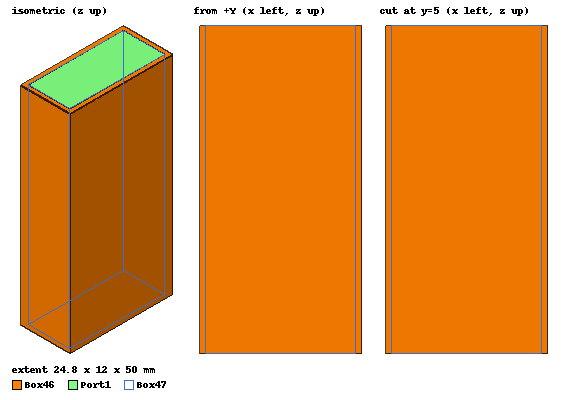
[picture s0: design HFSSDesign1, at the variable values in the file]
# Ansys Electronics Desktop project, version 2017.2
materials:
  vacuum: permittivity=1
  air: permittivity=1.0006 permeability=1.0000004
  copper: permeability=0.999991 conductivity=58000000

design HFSSDesign1 (HFSS, DrivenModal, model units mm)
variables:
  a = 22.8mm
  b = 10mm
  w = 8.8mm
  t = 1mm
  h = 3mm
  x1 = 1.5mm
  s = 0.75mm
  sh = 0.75mm
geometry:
  Box1 [copper] = box(corner=(0mm, 0mm, 0mm), size=(a, b, 0.01mm))
  Box2 = box(corner=((a-w)/2, (b-2*h-x1)/2, -0.5mm), size=(w, t, 1mm))
  Box3 = box(corner=((a-w)/2-sh, (b-2*h-x1)/2 +h+x1+2*t, -0.5mm), size=(w, t, 1mm))
  Box4 = box(corner=((a-w)/2, (b-2*h-x1)/2+2*t, -0.5mm), size=((w-s)/2, t, 1mm))
  Box5 = box(corner=((a-w)/2+(w-s)/2+s, (b-2*h-x1)/2+2*t, -0.5mm), size=((w-s)/2, t, 1mm))
  Box6 = box(corner=((a-w)/2-sh, (b-2*h-x1)/2+2*t+x1+t, -0.5mm), size=((w-s)/2, t, 1mm))
  Box7 = box(corner=((a-w)/2-sh+(w-s)/2+s, (b-2*h-x1)/2+2*t+x1+t, -0.5mm), size=((w-s)/2, t, 1mm))
  Box8 = box(corner=((a-w)/2, (b-2*h-x1)/2, -0.5mm), size=(t, h, 1mm))
  Box9 = box(corner=((a-w)/2+w-t, (b-2*h-x1)/2, -0.5mm), size=(t, h, 1mm))
  Box10 = box(corner=((a-w)/2-sh, (b-2*h-x1)/2+h+x1, -0.5mm), size=(t, h, 1mm))
  Box11 = box(corner=((a-w)/2-sh+w-t, (b-2*h-x1)/2+h+x1, -0.5mm), size=(t, h, 1mm))
  [Box1..Box11].move(0mm, -16mm, -0.01mm)
  Box12 [copper] = box(corner=(0mm, 0mm, 0mm), size=(a, b, 0.01mm))
  Box12.move(0mm, -16mm, -0.01mm)
  Box13 = box(corner=((a-w)/2, (b-2*h-x1)/2, -0.5mm), size=(w, t, 1mm))
  Box13.move(0mm, -16mm, -0.01mm)
  Box14 = box(corner=((a-w)/2-sh, (b-2*h-x1)/2 +h+x1+2*t, -0.5mm), size=(w, t, 1mm))
  Box14.move(0mm, -16mm, -0.01mm)
  Box15 = box(corner=((a-w)/2, (b-2*h-x1)/2+2*t, -0.5mm), size=((w-s)/2, t, 1mm))
  Box15.move(0mm, -16mm, -0.01mm)
  Box16 = box(corner=((a-w)/2+(w-s)/2+s, (b-2*h-x1)/2+2*t, -0.5mm), size=((w-s)/2, t, 1mm))
  Box16.move(0mm, -16mm, -0.01mm)
  Box17 = box(corner=((a-w)/2-sh, (b-2*h-x1)/2+2*t+x1+t, -0.5mm), size=((w-s)/2, t, 1mm))
  Box17.move(0mm, -16mm, -0.01mm)
  Box18 = box(corner=((a-w)/2-sh+(w-s)/2+s, (b-2*h-x1)/2+2*t+x1+t, -0.5mm), size=((w-s)/2, t, 1mm))
  Box18.move(0mm, -16mm, -0.01mm)
  Box19 = box(corner=((a-w)/2, (b-2*h-x1)/2, -0.5mm), size=(t, h, 1mm))
  Box19.move(0mm, -16mm, -0.01mm)
  Box20 = box(corner=((a-w)/2+w-t, (b-2*h-x1)/2, -0.5mm), size=(t, h, 1mm))
  Box20.move(0mm, -16mm, -0.01mm)
  Box21 = box(corner=((a-w)/2-sh, (b-2*h-x1)/2+h+x1, -0.5mm), size=(t, h, 1mm))
  Box21.move(0mm, -16mm, -0.01mm)
  Box22 = box(corner=((a-w)/2-sh+w-t, (b-2*h-x1)/2+h+x1, -0.5mm), size=(t, h, 1mm))
  Box22.move(0mm, -16mm, -0.01mm)
  [Box15, Box13, Box2, Box9, Box5, Box19, Box6, Box7, Box11, Box3, Box21, Box1].move(0mm, 0mm, 10mm)
  Box13.move(0mm, 0mm, -10mm)
  [Box4, Box8, Box10, Box12, Box13, Box14, Box16, Box17, Box18, Box20, Box22].move(0mm, 0mm, -10mm)
  [Box4, Box8, Box10, Box12, Box13, Box14, Box16, Box17, Box18, Box20, Box22].move(0mm, 0mm, 10mm)
  Box23 = box(corner=((a-w)/2, (b-2*h-x1)/2+2*t, -0.5mm), size=((w-s)/2, t, 1mm))
  Box23.move(0mm, -16mm, -0.01mm)
  Box23.move(0mm, 0mm, -10mm)
  Box23.move(0mm, 0mm, 10mm)
  Box24 = box(corner=((a-w)/2, (b-2*h-x1)/2, -0.5mm), size=(t, h, 1mm))
  Box24.move(0mm, -16mm, -0.01mm)
  Box24.move(0mm, 0mm, -10mm)
  Box24.move(0mm, 0mm, 10mm)
  Box25 = box(corner=((a-w)/2-sh, (b-2*h-x1)/2+h+x1, -0.5mm), size=(t, h, 1mm))
  Box25.move(0mm, -16mm, -0.01mm)
  Box25.move(0mm, 0mm, -10mm)
  Box25.move(0mm, 0mm, 10mm)
  Box26 [copper] = box(corner=(0mm, 0mm, 0mm), size=(a, b, 0.01mm))
  Box26.move(0mm, -16mm, -0.01mm)
  Box26.move(0mm, 0mm, -10mm)
  Box26.move(0mm, 0mm, 10mm)
  Box27 = box(corner=((a-w)/2, (b-2*h-x1)/2, -0.5mm), size=(w, t, 1mm))
  Box27.move(0mm, -16mm, -0.01mm)
  Box27.move(0mm, 0mm, 10mm)
  Box27.move(0mm, 0mm, -10mm)
  Box27.move(0mm, 0mm, -10mm)
  Box27.move(0mm, 0mm, 10mm)
  Box28 = box(corner=((a-w)/2-sh, (b-2*h-x1)/2 +h+x1+2*t, -0.5mm), size=(w, t, 1mm))
  Box28.move(0mm, -16mm, -0.01mm)
  Box28.move(0mm, 0mm, -10mm)
  Box28.move(0mm, 0mm, 10mm)
  Box29 = box(corner=((a-w)/2+(w-s)/2+s, (b-2*h-x1)/2+2*t, -0.5mm), size=((w-s)/2, t, 1mm))
  Box29.move(0mm, -16mm, -0.01mm)
  Box29.move(0mm, 0mm, -10mm)
  Box29.move(0mm, 0mm, 10mm)
  Box30 = box(corner=((a-w)/2-sh, (b-2*h-x1)/2+2*t+x1+t, -0.5mm), size=((w-s)/2, t, 1mm))
  Box30.move(0mm, -16mm, -0.01mm)
  Box30.move(0mm, 0mm, -10mm)
  Box30.move(0mm, 0mm, 10mm)
  Box31 = box(corner=((a-w)/2-sh+(w-s)/2+s, (b-2*h-x1)/2+2*t+x1+t, -0.5mm), size=((w-s)/2, t, 1mm))
  Box31.move(0mm, -16mm, -0.01mm)
  Box31.move(0mm, 0mm, -10mm)
  Box31.move(0mm, 0mm, 10mm)
  Box32 = box(corner=((a-w)/2+w-t, (b-2*h-x1)/2, -0.5mm), size=(t, h, 1mm))
  Box32.move(0mm, -16mm, -0.01mm)
  Box32.move(0mm, 0mm, -10mm)
  Box32.move(0mm, 0mm, 10mm)
  Box33 = box(corner=((a-w)/2-sh+w-t, (b-2*h-x1)/2+h+x1, -0.5mm), size=(t, h, 1mm))
  Box33.move(0mm, -16mm, -0.01mm)
  Box33.move(0mm, 0mm, -10mm)
  Box33.move(0mm, 0mm, 10mm)
  [Box23..Box33].move(0mm, 0mm, -10mm)
  Box34 = box(corner=((a-w)/2, (b-2*h-x1)/2+2*t, -0.5mm), size=((w-s)/2, t, 1mm))
  Box34.move(0mm, -16mm, -0.01mm)
  Box34.move(0mm, 0mm, -10mm)
  Box34.move(0mm, 0mm, 10mm)
  Box34.move(0mm, 0mm, -10mm)
  Box35 = box(corner=((a-w)/2, (b-2*h-x1)/2, -0.5mm), size=(t, h, 1mm))
  Box35.move(0mm, -16mm, -0.01mm)
  Box35.move(0mm, 0mm, -10mm)
  Box35.move(0mm, 0mm, 10mm)
  Box35.move(0mm, 0mm, -10mm)
  Box36 = box(corner=((a-w)/2-sh, (b-2*h-x1)/2+h+x1, -0.5mm), size=(t, h, 1mm))
  Box36.move(0mm, -16mm, -0.01mm)
  Box36.move(0mm, 0mm, -10mm)
  Box36.move(0mm, 0mm, 10mm)
  Box36.move(0mm, 0mm, -10mm)
  Box37 [copper] = box(corner=(0mm, 0mm, 0mm), size=(a, b, 0.01mm))
  Box37.move(0mm, -16mm, -0.01mm)
  Box37.move(0mm, 0mm, -10mm)
  Box37.move(0mm, 0mm, 10mm)
  Box37.move(0mm, 0mm, -10mm)
  Box38 = box(corner=((a-w)/2, (b-2*h-x1)/2, -0.5mm), size=(w, t, 1mm))
  Box38.move(0mm, -16mm, -0.01mm)
  Box38.move(0mm, 0mm, 10mm)
  Box38.move(0mm, 0mm, -10mm)
  Box38.move(0mm, 0mm, -10mm)
  Box38.move(0mm, 0mm, 10mm)
  Box38.move(0mm, 0mm, -10mm)
  Box39 = box(corner=((a-w)/2-sh, (b-2*h-x1)/2 +h+x1+2*t, -0.5mm), size=(w, t, 1mm))
  Box39.move(0mm, -16mm, -0.01mm)
  Box39.move(0mm, 0mm, -10mm)
  Box39.move(0mm, 0mm, 10mm)
  Box39.move(0mm, 0mm, -10mm)
  Box40 = box(corner=((a-w)/2+(w-s)/2+s, (b-2*h-x1)/2+2*t, -0.5mm), size=((w-s)/2, t, 1mm))
  Box40.move(0mm, -16mm, -0.01mm)
  Box40.move(0mm, 0mm, -10mm)
  Box40.move(0mm, 0mm, 10mm)
  Box40.move(0mm, 0mm, -10mm)
  Box41 = box(corner=((a-w)/2-sh, (b-2*h-x1)/2+2*t+x1+t, -0.5mm), size=((w-s)/2, t, 1mm))
  Box41.move(0mm, -16mm, -0.01mm)
  Box41.move(0mm, 0mm, -10mm)
  Box41.move(0mm, 0mm, 10mm)
  Box41.move(0mm, 0mm, -10mm)
  Box42 = box(corner=((a-w)/2-sh+(w-s)/2+s, (b-2*h-x1)/2+2*t+x1+t, -0.5mm), size=((w-s)/2, t, 1mm))
  Box42.move(0mm, -16mm, -0.01mm)
  Box42.move(0mm, 0mm, -10mm)
  Box42.move(0mm, 0mm, 10mm)
  Box42.move(0mm, 0mm, -10mm)
  Box43 = box(corner=((a-w)/2+w-t, (b-2*h-x1)/2, -0.5mm), size=(t, h, 1mm))
  Box43.move(0mm, -16mm, -0.01mm)
  Box43.move(0mm, 0mm, -10mm)
  Box43.move(0mm, 0mm, 10mm)
  Box43.move(0mm, 0mm, -10mm)
  Box44 = box(corner=((a-w)/2-sh+w-t, (b-2*h-x1)/2+h+x1, -0.5mm), size=(t, h, 1mm))
  Box44.move(0mm, -16mm, -0.01mm)
  Box44.move(0mm, 0mm, -10mm)
  Box44.move(0mm, 0mm, 10mm)
  Box44.move(0mm, 0mm, -10mm)
  [Box34..Box44].move(0mm, 0mm, -10mm)
  Box1.subtract(Box11, Box15, Box19, Box2, Box21, Box3, Box5, Box6, Box7, Box9)
  Box12.subtract(Box10, Box13, Box14, Box16, Box17, Box18, Box20, Box22, Box4, Box8)
  Box26.subtract(Box23, Box24, Box25, Box27..Box33)
  Box37.subtract(Box34, Box35, Box36, Box38..Box44)
  Box45 = box(corner=(0mm, 0mm, -30mm), size=(22.8mm, 10mm, 50mm))
  Box46 [copper] = box(corner=(-1mm, -1mm, -30mm), size=(24.8mm, 12mm, 50mm))
  Box46.subtract(Box45)
  Box47 [air] = box(corner=(0mm, 0mm, -30mm), size=(22.8mm, 10mm, 50mm))
  [Box1, Box12, Box26, Box37].move(0mm, 16mm, 0mm)
  Port1 = rectangle(corner=(0mm, 0mm, 20mm), x_size=22.8mm, y_size=10mm)
  Port2 = rectangle(corner=(0mm, 10mm, -30mm), x_size=22.8mm, y_size=-10mm)
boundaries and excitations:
  1: Wave Port Objects=Port1 NumModes=1 Modes{Mode1{CharImp=Zpi}}
  2: Wave Port Objects=Port2 NumModes=1 Modes{Mode1{CharImp=Zpi}}
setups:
  Setup1: HfssDriven Frequency=10GHz MaxDeltaS=0.02 MaximumPasses=6 MinimumPasses=1 MinimumConvergedPasses=1 PercentRefinement=30 BasisOrder=1 PortAccuracy=2 RayDensityPerWavelength=4 MaxNumberOfBounces=5 SkipSBRSolveDuringAdaptivePasses
    sweep Sweep1: 5GHz to 15GHz, 451 points; Type=Interpolating InterpTolerance=0.5 InterpMaxSolns=250 InterpUsePortImped=false PassivityErrorTolerance=0.0001
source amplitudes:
  1:1: 1W 0deg
  2:1: 0W 0deg
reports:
  S Parameter Plot 1: dB(S(1,1)), dB(S(1,2)), dB(S(2,1)), dB(S(2,2)) vs Freq on Setup1 : Sweep1
